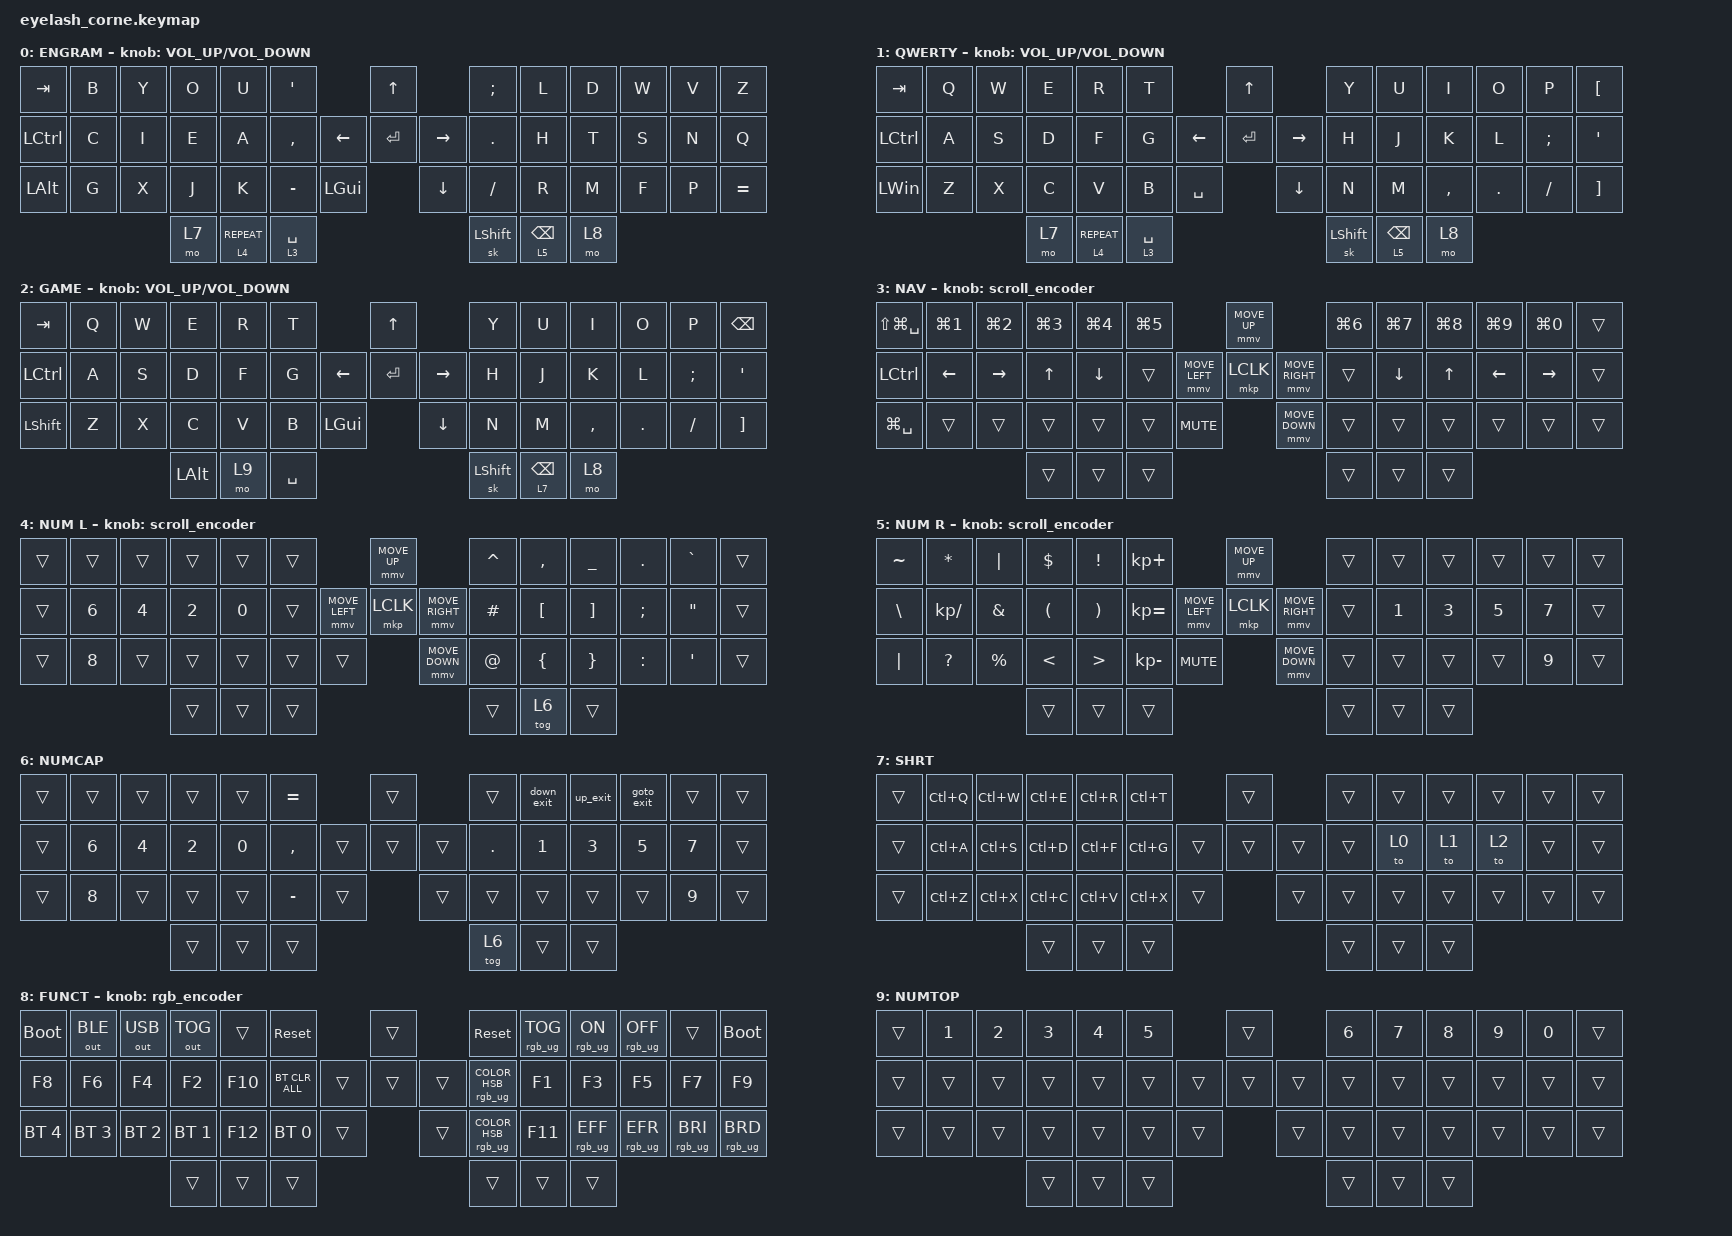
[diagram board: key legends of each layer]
#define ZMK_POINTING_DEFAULT_MOVE_VAL 1200  // 600
#define ZMK_POINTING_DEFAULT_SCRL_VAL 25   // 10

#include <input/processors.dtsi>
#include <zephyr/dt-bindings/input/input-event-codes.h>
#include <behaviors.dtsi>
#include <dt-bindings/zmk/bt.h>
#include <dt-bindings/zmk/keys.h>
#include <dt-bindings/zmk/outputs.h>
#include <dt-bindings/zmk/pointing.h>
#include <dt-bindings/zmk/rgb.h>

&mmv_input_listener { input-processors = <&zip_xy_scaler 2 1>; };

&msc_input_listener { input-processors = <&zip_scroll_scaler 2 1>; };

&msc {
    acceleration-exponent = <1>;      // 0
    time-to-max-speed-ms = <100>;       // 300
    delay-ms = <0>;                   // 0
};

&mmv {
    time-to-max-speed-ms = <500>;
    acceleration-exponent = <1>;
    trigger-period-ms = <16>;
};

&soft_off { hold-time-ms = <2000>; };

/ {
    behaviors {
        td0: td0 {
            compatible = "zmk,behavior-tap-dance";
            display-name = "Shift/Caps Lock Tap Dance";
            #binding-cells = <0>;
            bindings = <&kp EQUAL>, <&not_equal>;
        };
    };

    rgb_encoder: rgb_encoder {
        compatible = "zmk,behavior-sensor-rotate";
        #sensor-binding-cells = <0>;
        bindings = <&rgb_ug RGB_BRI>, <&rgb_ug RGB_BRD>;
    };

    scroll_encoder: scroll_encoder {
        compatible = "zmk,behavior-sensor-rotate";
        #sensor-binding-cells = <0>;
        bindings = <&msc SCRL_DOWN>, <&msc SCRL_UP>;

        tap-ms = <100>;
    };

    combos {
        compatible = "zmk,combos";

        softoff {
            bindings = <&soft_off>;
            key-positions = <1 15 29>;
        };

        enter {
            bindings = <&kp ENTER>;
            key-positions = <8 9>;
        };

        deleteall {
            bindings = <&kp LC(BACKSPACE)>;
            key-positions = <9 10>;
        };

        escrape {
            bindings = <&kp ESC>;
            key-positions = <0 1>;
        };

        NUMCAP {
            bindings = <&tog 6>;
            key-positions = <43 46>;
        };

        EQUAL_TD {
            bindings = <&td0>;
            key-positions = <24 25>;
        };

        R_ARROW {
            bindings = <&right_arrow>;
            key-positions = <8 23>;
        };

        R_DOUBLE_ARROW {
            bindings = <&right_double_arrow>;
            key-positions = <9 24>;
        };

        L_ARROW {
            bindings = <&left_arrow>;
            key-positions = <4 17>;
        };

        L_DOUBLE_ARROW {
            bindings = <&left_double_arrow>;
            key-positions = <3 16>;
        };

        WORD_CAP {
            bindings = <&caps_word>;
            key-positions = <16 24>;
        };

        GUI_L {
            bindings = <&kp LEFT_GUI>;
            key-positions = <32 31>;
        };

        GUI_R {
            bindings = <&kp RIGHT_GUI>;
            key-positions = <37 38>;
        };
    };

    macros {
        right_arrow: right_arrow {
            compatible = "zmk,behavior-macro";
            #binding-cells = <0>;
            bindings = <&kp MINUS &kp GT>;
            label = "RIGHT_ARROW";
        };

        right_double_arrow: right_double_arrow {
            compatible = "zmk,behavior-macro";
            #binding-cells = <0>;
            bindings = <&kp EQUAL &kp GT>;
            label = "RIGHT_DOUBLE_ARROW";
        };

        not_equal: not_equal {
            compatible = "zmk,behavior-macro";
            #binding-cells = <0>;
            bindings = <&kp EXCL &kp EQUAL>;
            label = "NOT_EQUAL";
        };

        left_arrow: left_arrow {
            compatible = "zmk,behavior-macro";
            #binding-cells = <0>;
            bindings = <&kp LT &kp MINUS>;
            label = "LEFT_ARROW";
        };

        left_double_arrow: left_double_arrow {
            compatible = "zmk,behavior-macro";
            #binding-cells = <0>;
            bindings = <&kp LT &kp EQUAL>;
            label = "LEFT_DOUBLE_ARROW";
        };

        down_exit: down_exit {
            compatible = "zmk,behavior-macro";
            #binding-cells = <0>;
            bindings = <&kp H &tog 6>;
            label = "DOWN_EXIT";
        };

        up_exit: up_exit {
            compatible = "zmk,behavior-macro";
            #binding-cells = <0>;
            bindings = <&kp T &tog 6>;
            label = "UP_EXIT";
        };

        goto_exit: goto_exit {
            compatible = "zmk,behavior-macro";
            #binding-cells = <0>;
            bindings = <&kp LS(G) &tog 6>;
            label = "GOTO_EXIT";
        };
    };

    keymap {
        compatible = "zmk,keymap";

        ENGRAM {
            display-name = "ENGRAM";
            bindings = <
&kp TAB    &kp B  &kp Y  &kp O  &kp U           &kp APOS                                 &kp UP_ARROW                     &kp SEMI        &kp L            &kp D  &kp W  &kp V  &kp Z
&kp LCTRL  &kp C  &kp I  &kp E  &kp A           &kp COMMA                &kp LEFT_ARROW  &kp ENTER       &kp RIGHT_ARROW  &kp DOT         &kp H            &kp T  &kp S  &kp N  &kp Q
&kp LALT   &kp G  &kp X  &kp J  &kp K           &kp MINUS    &kp LGUI                    &kp DOWN_ARROW                   &kp FSLH        &kp R            &kp M  &kp F  &kp P  &kp EQUAL
                         &mo 7  &lt 4 C_REPEAT  &lt 3 SPACE                                                               &sk LEFT_SHIFT  &lt 5 BACKSPACE  &mo 8
            >;

            sensor-bindings = <&inc_dec_kp C_VOLUME_UP C_VOLUME_DOWN>;
        };

        QWERTY {
            display-name = "QWERTY";
            bindings = <
&kp TAB       &kp Q  &kp W  &kp E  &kp R           &kp T                               &kp UP                &kp Y       &kp U            &kp I      &kp O    &kp P     &kp LBKT
&kp LCTRL     &kp A  &kp S  &kp D  &kp F           &kp G                     &kp LEFT  &kp ENTER  &kp RIGHT  &kp H       &kp J            &kp K      &kp L    &kp SEMI  &kp SQT
&kp LEFT_WIN  &kp Z  &kp X  &kp C  &kp V           &kp B        &kp SPACE              &kp DOWN              &kp N       &kp M            &kp COMMA  &kp DOT  &kp FSLH  &kp RIGHT_BRACKET
                            &mo 7  &lt 4 C_REPEAT  &lt 3 SPACE                                               &sk LSHIFT  &lt 5 BACKSPACE  &mo 8
            >;

            sensor-bindings = <&inc_dec_kp C_VOLUME_UP C_VOLUME_DOWN>;
        };

        GAME {
            display-name = "GAME";
            bindings = <
&kp TAB     &kp Q  &kp W  &kp E         &kp R  &kp T                                &kp UP                &kp Y       &kp U            &kp I      &kp O    &kp P     &kp BSPC
&kp LCTRL   &kp A  &kp S  &kp D         &kp F  &kp G                      &kp LEFT  &kp ENTER  &kp RIGHT  &kp H       &kp J            &kp K      &kp L    &kp SEMI  &kp SQT
&kp LSHIFT  &kp Z  &kp X  &kp C         &kp V  &kp B      &kp LEFT_GUI              &kp DOWN              &kp N       &kp M            &kp COMMA  &kp DOT  &kp FSLH  &kp RIGHT_BRACKET
                          &kp LEFT_ALT  &mo 9  &kp SPACE                                                  &sk LSHIFT  &lt 7 BACKSPACE  &mo 8
            >;

            sensor-bindings = <&inc_dec_kp C_VOLUME_UP C_VOLUME_DOWN>;
        };

        lower_layer {
            display-name = "NAV";
            bindings = <
&kp LS(LG(SPACE))  &kp LG(N1)      &kp LG(N2)  &kp LG(N3)    &kp LG(N4)  &kp LG(N5)                                &mmv MOVE_UP                     &kp LG(N6)  &kp LG(N7)  &kp LG(N8)  &kp LG(N9)  &kp LG(N0)  &trans
&kp LCTRL          &kp LEFT_ARROW  &kp RIGHT   &kp UP_ARROW  &kp DOWN    &trans                    &mmv MOVE_LEFT  &mkp LCLK       &mmv MOVE_RIGHT  &trans      &kp DOWN    &kp UP      &kp LEFT    &kp RIGHT   &trans
&kp LG(SPACE)      &trans          &trans      &trans        &trans      &trans      &kp C_MUTE                    &mmv MOVE_DOWN                   &trans      &trans      &trans      &trans      &trans      &trans
                                               &trans        &trans      &trans                                                                     &trans      &trans      &trans
            >;

            sensor-bindings = <&scroll_encoder>;
        };

        LEFTNUM {
            display-name = "NUM L";
            bindings = <
&trans  &trans        &trans        &trans  &trans  &trans                            &mmv MOVE_UP                     &kp CARET  &kp COMMA         &kp UNDERSCORE     &kp PERIOD     &kp GRAVE          &trans
&trans  &kp NUMBER_6  &kp NUMBER_4  &kp N2  &kp N0  &trans            &mmv MOVE_LEFT  &mkp LCLK       &mmv MOVE_RIGHT  &kp HASH   &kp LEFT_BRACKET  &kp RIGHT_BRACKET  &kp SEMICOLON  &kp DOUBLE_QUOTES  &trans
&trans  &kp N8        &trans        &trans  &trans  &trans  &trans                    &mmv MOVE_DOWN                   &kp AT     &kp LEFT_BRACE    &kp RIGHT_BRACE    &kp COLON      &kp SINGLE_QUOTE   &trans
                                    &trans  &trans  &trans                                                             &trans     &tog 6            &trans
            >;

            sensor-bindings = <&scroll_encoder>;
        };

        RIGHTNUM {
            display-name = "NUM R";
            bindings = <
&kp TILDE      &kp ASTERISK  &kp PIPE       &kp DOLLAR            &kp EXCLAMATION        &kp KP_PLUS                                 &mmv MOVE_UP                     &trans  &trans  &trans  &trans        &trans        &trans
&kp BACKSLASH  &kp KP_SLASH  &kp AMPERSAND  &kp LEFT_PARENTHESIS  &kp RIGHT_PARENTHESIS  &kp KP_EQUAL                &mmv MOVE_LEFT  &mkp LCLK       &mmv MOVE_RIGHT  &trans  &kp N1  &kp N3  &kp NUMBER_5  &kp NUMBER_7  &trans
&kp PIPE       &kp QUESTION  &kp PERCENT    &kp LESS_THAN         &kp GREATER_THAN       &kp KP_MINUS  &kp C_MUTE                    &mmv MOVE_DOWN                   &trans  &trans  &trans  &trans        &kp N9        &trans
                                            &trans                &trans                 &trans                                                                       &trans  &trans  &trans
            >;

            sensor-bindings = <&scroll_encoder>;
        };

        NUMCAP {
            display-name = "NUMCAP";
            bindings = <
&trans  &trans  &trans  &trans  &trans  &kp EQUAL                    &trans          &trans   &down_exit  &up_exit  &goto_exit  &trans  &trans
&trans  &kp N6  &kp N4  &kp N2  &kp N0  &kp COMMA            &trans  &trans  &trans  &kp DOT  &kp N1      &kp N3    &kp N5      &kp N7  &trans
&trans  &kp N8  &trans  &trans  &trans  &kp MINUS  &trans            &trans          &trans   &trans      &trans    &trans      &kp N9  &trans
                        &trans  &trans  &trans                                       &tog 6   &trans      &trans
            >;
        };

        SHRT {
            display-name = "SHRT";
            bindings = <
&trans  &kp LC(Q)  &kp LC(W)  &kp LC(E)  &kp LC(R)  &kp LC(T)                    &trans          &trans  &trans  &trans  &trans  &trans  &trans
&trans  &kp LC(A)  &kp LC(S)  &kp LC(D)  &kp LC(F)  &kp LC(G)            &trans  &trans  &trans  &trans  &to 0   &to 1   &to 2   &trans  &trans
&trans  &kp LC(Z)  &kp LC(X)  &kp LC(C)  &kp LC(V)  &kp LC(X)  &trans            &trans          &trans  &trans  &trans  &trans  &trans  &trans
                              &trans     &trans     &trans                                       &trans  &trans  &trans
            >;
        };

        FUNCT {
            display-name = "FUNCT";
            bindings = <
&bootloader   &out OUT_BLE  &out OUT_USB  &out OUT_TOG  &trans   &sys_reset                        &trans          &sys_reset                        &rgb_ug RGB_TOG  &rgb_ug RGB_ON   &rgb_ug RGB_OFF  &trans           &bootloader
&kp F8        &kp F6        &kp F4        &kp F2        &kp F10  &bt BT_CLR_ALL            &trans  &trans  &trans  &rgb_ug RGB_COLOR_HSB(0,0,100)    &kp F1           &kp F3           &kp F5           &kp F7           &kp F9
&bt BT_SEL 4  &bt BT_SEL 3  &bt BT_SEL 2  &bt BT_SEL 1  &kp F12  &bt BT_SEL 0    &trans            &trans          &rgb_ug RGB_COLOR_HSB(27,100,51)  &kp F11          &rgb_ug RGB_EFF  &rgb_ug RGB_EFR  &rgb_ug RGB_BRI  &rgb_ug RGB_BRD
                                          &trans        &trans   &trans                                            &trans                            &trans           &trans
            >;

            sensor-bindings = <&rgb_encoder>;
        };

        NUMTOP {
            display-name = "NUMTOP";
            bindings = <
&trans  &kp N1  &kp N2  &kp N3  &kp N4  &kp N5                    &trans          &kp N6  &kp N7  &kp N8  &kp N9  &kp N0  &trans
&trans  &trans  &trans  &trans  &trans  &trans            &trans  &trans  &trans  &trans  &trans  &trans  &trans  &trans  &trans
&trans  &trans  &trans  &trans  &trans  &trans  &trans            &trans          &trans  &trans  &trans  &trans  &trans  &trans
                        &trans  &trans  &trans                                    &trans  &trans  &trans
            >;
        };
    };
};
